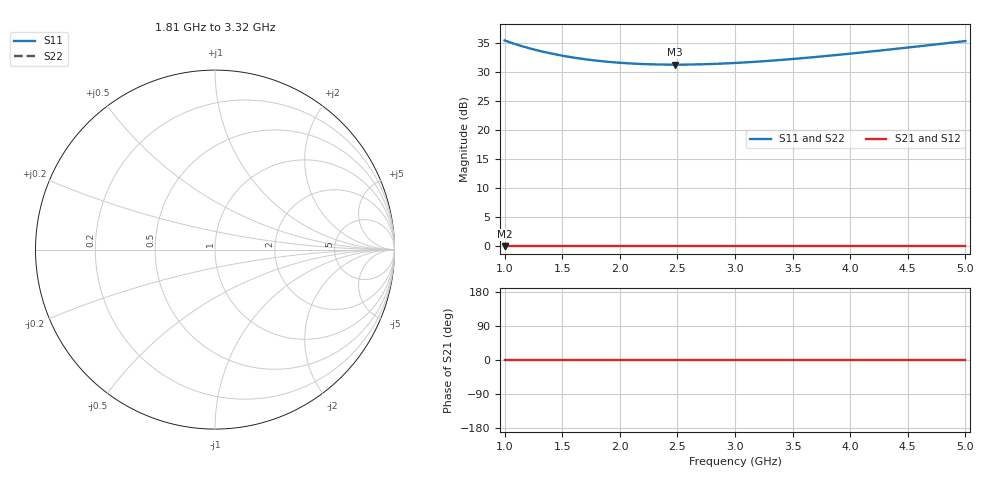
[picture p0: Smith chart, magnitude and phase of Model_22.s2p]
# GHZ S RI R 50
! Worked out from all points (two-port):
!   401 points, 1 GHz to 5 GHz, reference 50 ohm
!   highest |S21| = 0.00 dB at 1 GHz (marker M1); lowest = 0.0 dB at 1 GHz (marker M2)
!   |S21| within 3 dB of the highest: start of sweep to end of sweep
!   lowest |S11| = 31.3 dB at 2.48 GHz (marker M3)
!   |S11| at or under -10 dB: nowhere
!   |S22| runs from 31.3 to 35.4 dB; largest |S21 - S12| = 0
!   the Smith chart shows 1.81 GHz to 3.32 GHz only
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1  59.12 0  1 0  1 0  59.12 0
1.02  58.16 0  1 0  1 0  58.16 0
1.15  52.81 0  1 0  1 0  52.81 0
1.22  50.47 0  1 0  1 0  50.47 0
1.3  48.16 0  1 0  1 0  48.16 0
1.38  46.19 0  1 0  1 0  46.19 0
1.47  44.29 0  1 0  1 0  44.29 0
1.57  42.54 0  1 0  1 0  42.54 0
1.67  41.09 0  1 0  1 0  41.09 0
1.82  39.39 0  1 0  1 0  39.39 0
1.98  38.1 0  1 0  1 0  38.1 0
2.15  37.21 0  1 0  1 0  37.21 0
2.34  36.69 0  1 0  1 0  36.69 0
2.48  36.59 0  1 0  1 0  36.59 0
2.73  36.89 0  1 0  1 0  36.89 0
3  37.82 0  1 0  1 0  37.82 0
3.33  39.69 0  1 0  1 0  39.69 0
3.67  42.33 0  1 0  1 0  42.33 0
4  45.51 0  1 0  1 0  45.51 0
4.34  49.36 0  1 0  1 0  49.36 0
4.64  53.23 0  1 0  1 0  53.23 0
5  58.39 0  1 0  1 0  58.39 0
